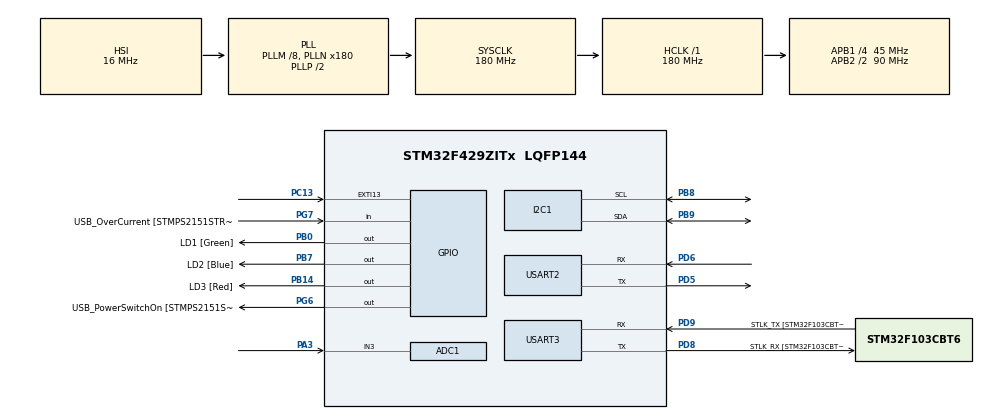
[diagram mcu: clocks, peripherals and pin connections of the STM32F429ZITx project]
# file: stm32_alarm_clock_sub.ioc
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ADC1.Channel-1\#ChannelRegularConversion=ADC_CHANNEL_3
ADC1.ExternalTrigConv=ADC_SOFTWARE_START
ADC1.NbrOfConversion=1
ADC1.NbrOfConversionFlag=1
ADC1.Rank-1\#ChannelRegularConversion=1
ADC1.SamplingTime-1\#ChannelRegularConversion=ADC_SAMPLETIME_3CYCLES
ADC1.master=1
Mcu.Family=STM32F4
Mcu.Name=STM32F429ZITx
Mcu.Package=LQFP144
NVIC.ADC_IRQn=true\:0\:0\:false\:false\:true\:true\:true
NVIC.EXTI15_10_IRQn=true\:0\:0\:false\:false\:true\:true\:true
NVIC.PriorityGroup=NVIC_PRIORITYGROUP_4
NVIC.USART2_IRQn=true\:0\:0\:false\:false\:true\:true\:true
NVIC.USART3_IRQn=true\:0\:0\:false\:false\:true\:true\:true
PA1.GPIO_Label=RMII_REF_CLK [LAN8742A-CZ-TR_REFCLK0]
PA1.Signal=ETH_REF_CLK
PA10.GPIO_Label=USB_ID
PA10.Signal=USB_OTG_FS_ID
PA11.GPIO_Label=USB_DM
PA11.Signal=USB_OTG_FS_DM
PA12.GPIO_Label=USB_DP
PA12.Signal=USB_OTG_FS_DP
PA13.GPIO_Label=TMS
PA13.Mode=Serial_Wire
PA13.Signal=SYS_JTMS-SWDIO
PA14.GPIO_Label=TCK
PA14.Mode=Serial_Wire
PA14.Signal=SYS_JTCK-SWCLK
PA2.GPIO_Label=RMII_MDIO [LAN8742A-CZ-TR_MDIO]
PA2.Signal=ETH_MDIO
PA3.Signal=ADCx_IN3
PA7.GPIO_Label=RMII_CRS_DV [LAN8742A-CZ-TR_CRS_DV]
PA7.Signal=ETH_CRS_DV
PA8.GPIO_Label=USB_SOF [TP1]
PA8.Signal=USB_OTG_FS_SOF
PA9.GPIO_Label=USB_VBUS
PA9.Signal=USB_OTG_FS_VBUS
PB0.GPIO_Label=LD1 [Green]
PB0.Signal=GPIO_Output
PB13.GPIO_Label=RMII_TXD1 [LAN8742A-CZ-TR_TXD1]
PB13.Signal=ETH_TXD1
PB14.GPIO_Label=LD3 [Red]
PB14.Signal=GPIO_Output
PB7.GPIO_Label=LD2 [Blue]
PB7.Signal=GPIO_Output
PB8.Mode=I2C
PB8.Signal=I2C1_SCL
PB9.Mode=I2C
PB9.Signal=I2C1_SDA
PC1.GPIO_Label=RMII_MDC [LAN8742A-CZ-TR_MDC]
PC1.Signal=ETH_MDC
PC13.Signal=GPXTI13
PC14/OSC32_IN.Mode=LSE-External-Oscillator
PC14/OSC32_IN.Signal=RCC_OSC32_IN
PC15/OSC32_OUT.Mode=LSE-External-Oscillator
PC15/OSC32_OUT.Signal=RCC_OSC32_OUT
PC4.GPIO_Label=RMII_RXD0 [LAN8742A-CZ-TR_RXD0]
PC4.Signal=ETH_RXD0
PC5.GPIO_Label=RMII_RXD1 [LAN8742A-CZ-TR_RXD1]
PC5.Signal=ETH_RXD1
PD5.Mode=Asynchronous
PD5.Signal=USART2_TX
PD6.Mode=Asynchronous
PD6.Signal=USART2_RX
PD8.GPIO_Label=STLK_RX [STM32F103CBT6_PA3]
PD8.Mode=Asynchronous
PD8.Signal=USART3_TX
PD9.GPIO_Label=STLK_TX [STM32F103CBT6_PA2]
PD9.Mode=Asynchronous
PD9.Signal=USART3_RX
PG11.GPIO_Label=RMII_TX_EN [LAN8742A-CZ-TR_TXEN]
PG11.Signal=ETH_TX_EN
PG13.GPIO_Label=RMII_TXD0 [LAN8742A-CZ-TR_TXD0]
PG13.Signal=ETH_TXD0
PG6.GPIO_Label=USB_PowerSwitchOn [STMPS2151STR_EN]
PG6.Signal=GPIO_Output
PG7.GPIO_Label=USB_OverCurrent [STMPS2151STR_FAULT]
PG7.Signal=GPIO_Input
PH0/OSC_IN.GPIO_Label=MCO [STM32F103CBT6_PA8]
PH0/OSC_IN.Signal=RCC_OSC_IN
ProjectManager.HeapSize=0x200
ProjectManager.StackSize=0x400
ProjectManager.TargetToolchain=STM32CubeIDE
RCC.48MHZClocksFreq_Value=51428571.428571425
RCC.AHBFreq_Value=180000000
RCC.APB1CLKDivider=RCC_HCLK_DIV4
RCC.APB1Freq_Value=45000000
RCC.APB1TimFreq_Value=90000000
RCC.APB2CLKDivider=RCC_HCLK_DIV2
RCC.APB2Freq_Value=90000000
RCC.APB2TimCLKDivider=2
RCC.APB2TimFreq_Value=180000000
RCC.CortexFreq_Value=180000000
RCC.HCLKFreq_Value=180000000
RCC.HSE_VALUE=8000000
RCC.HSI_VALUE=16000000
RCC.PLLM=8
RCC.PLLMUL=RCC_PLL_MUL9
RCC.PLLN=180
RCC.PLLQ=7
RCC.PRESCALERUSB=RCC_USBCLKSOURCE_PLL_DIV1_5
RCC.RCC_RTC_Clock_Source=RCC_RTCCLKSOURCE_LSE
RCC.RCC_RTC_Clock_SourceVirtual=RCC_RTCCLKSOURCE_LSE
RCC.SYSCLKFreq_VALUE=180000000
RCC.SYSCLKSource=RCC_SYSCLKSOURCE_PLLCLK
RCC.SYSCLKSourceVirtual=RCC_SYSCLKSOURCE_PLLCLK
RCC.USBFreq_Value=48000000
RCC.VCOOutputFreq_Value=360000000
SH.ADCx_IN3.0=ADC1_IN3,IN3
USART2.VirtualMode=VM_ASYNC
USART3.VirtualMode=VM_ASYNC
VP_RTC_VS_RTC_Activate.Mode=RTC_Enabled
board=NUCLEO-F429ZI

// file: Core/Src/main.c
/* USER CODE BEGIN Header */
/**
 ******************************************************************************
 * @file           : main.c
 * @brief          : Main program body
 ******************************************************************************
 * @attention
 *
 * <h2><center>&copy; Copyright (c) 2020 STMicroelectronics.
 * All rights reserved.</center></h2>
 *
 * This software component is licensed by ST under BSD 3-Clause license,
 * the "License"; You may not use this file except in compliance with the
 * License. You may obtain a copy of the License at:
 *                        opensource.org/licenses/BSD-3-Clause
 *
 ******************************************************************************
 */
/* USER CODE END Header */

#include "main.h"

ADC_HandleTypeDef hadc1;

I2C_HandleTypeDef hi2c1;

RTC_HandleTypeDef hrtc;

UART_HandleTypeDef huart2;
UART_HandleTypeDef huart3;

void SystemClock_Config(void);
static void MX_GPIO_Init(void);
static void MX_USART3_UART_Init(void);
static void MX_ADC1_Init(void);
static void MX_I2C1_Init(void);
static void MX_RTC_Init(void);
static void MX_USART2_UART_Init(void);

/* USER CODE BEGIN 0 */

#define ADDR_FLASH_SECTOR_0     ((uint32_t)0x08000000) /* Base @ of Sector 0, 16 Kbytes */
#define ADDR_FLASH_SECTOR_1     ((uint32_t)0x08004000) /* Base @ of Sector 1, 16 Kbytes */
#define ADDR_FLASH_SECTOR_2     ((uint32_t)0x08008000) /* Base @ of Sector 2, 16 Kbytes */
#define ADDR_FLASH_SECTOR_3     ((uint32_t)0x0800C000) /* Base @ of Sector 3, 16 Kbytes */
#define ADDR_FLASH_SECTOR_4     ((uint32_t)0x08010000) /* Base @ of Sector 4, 64 Kbytes */
#define ADDR_FLASH_SECTOR_5     ((uint32_t)0x08020000) /* Base @ of Sector 5, 128 Kbytes */
#define ADDR_FLASH_SECTOR_6     ((uint32_t)0x08040000) /* Base @ of Sector 6, 128 Kbytes */
#define ADDR_FLASH_SECTOR_7     ((uint32_t)0x08060000) /* Base @ of Sector 7, 128 Kbytes */
#define ADDR_FLASH_SECTOR_8     ((uint32_t)0x08080000) /* Base @ of Sector 8, 128 Kbytes */
#define ADDR_FLASH_SECTOR_9     ((uint32_t)0x080A0000) /* Base @ of Sector 9, 128 Kbytes */
#define ADDR_FLASH_SECTOR_10    ((uint32_t)0x080C0000) /* Base @ of Sector 10, 128 Kbytes */
#define ADDR_FLASH_SECTOR_11    ((uint32_t)0x080E0000) /* Base @ of Sector 11, 128 Kbytes */

/* Base address of the Flash sectors Bank 2 */
#define ADDR_FLASH_SECTOR_12     ((uint32_t)0x08100000) /* Base @ of Sector 0, 16 Kbytes */
#define ADDR_FLASH_SECTOR_13     ((uint32_t)0x08104000) /* Base @ of Sector 1, 16 Kbytes */
#define ADDR_FLASH_SECTOR_14     ((uint32_t)0x08108000) /* Base @ of Sector 2, 16 Kbytes */
#define ADDR_FLASH_SECTOR_15     ((uint32_t)0x0810C000) /* Base @ of Sector 3, 16 Kbytes */
#define ADDR_FLASH_SECTOR_16     ((uint32_t)0x08110000) /* Base @ of Sector 4, 64 Kbytes */
#define ADDR_FLASH_SECTOR_17     ((uint32_t)0x08120000) /* Base @ of Sector 5, 128 Kbytes */
#define ADDR_FLASH_SECTOR_18     ((uint32_t)0x08140000) /* Base @ of Sector 6, 128 Kbytes */
#define ADDR_FLASH_SECTOR_19     ((uint32_t)0x08160000) /* Base @ of Sector 7, 128 Kbytes */
#define ADDR_FLASH_SECTOR_20     ((uint32_t)0x08180000) /* Base @ of Sector 8, 128 Kbytes  */
#define ADDR_FLASH_SECTOR_21     ((uint32_t)0x081A0000) /* Base @ of Sector 9, 128 Kbytes  */
#define ADDR_FLASH_SECTOR_22     ((uint32_t)0x081C0000) /* Base @ of Sector 10, 128 Kbytes */
#define ADDR_FLASH_SECTOR_23     ((uint32_t)0x081E0000) /* Base @ of Sector 11, 128 Kbytes */

uint32_t FirstSector = 0, NbOfSectors = 0;
uint32_t Address = 0, SECTORError = 0,Data=0, error=0;
uint32_t i;
__IO uint32_t data32 = 0 , MemoryProgramStatus = 0;

static FLASH_EraseInitTypeDef EraseInitStruct;

static uint32_t GetSector(uint32_t Address);
static uint32_t GetSectorSize(uint32_t Sector);

char uart_buf[30];
char uart_buf2[30];
char receive;
char ampm[3] = { "AM\0" };
char alarm_ampm[3] = { "AM\0" };
short int state = 0;
short int move = 0;
int music;

//static unsigned int music_number;
#define LCD_ADDR (0x27 << 1)

enum CLOCK_MODE {
	NORMAL_STATE, TIME_SETTING, ALARM_TIME_SETTING, MUSIC_SELECT
};

enum MUSIC_MODE {
	Rock, HIP_HOP, R_B, K_POP
};
uint32_t adc_value;
uint32_t last_time,current_time,time_interval;
uint8_t txBuffer[11];
uint8_t mode_state;
enum CLOCK_MODE volatile static clock_mode;
enum MUSIC_MODE volatile static music_mode;

typedef struct{
	int8_t hour;
	int8_t minute;
	int8_t second;
}TimeTypeDef;

TimeTypeDef ctime;
TimeTypeDef stime;
TimeTypeDef atime;

typedef struct {
  uint32_t magic_num;
  TimeTypeDef setting_time;
  TimeTypeDef alarm_time;
  int8_t alarm_music_num;
}NVitemTypeDef;

#define MAGIC_NUM 0xdeadbeef
#define nv_items  ((NVitemTypeDef *) ADDR_FLASH_SECTOR_23)

NVitemTypeDef default_nvitem =
{
  MAGIC_NUM,
  {0,0,0},
  {0,0,0},
  0
};

volatile static unsigned int timer_count = 0, second_count = 0;

HAL_SYSTICK_Callback() {
	if ((timer_count % 1000) == 0) {
		second_count++;
	}
	timer_count++;

}

void normal_display() {

	ctime.second = (second_count) % 60;
	ctime.minute = (second_count / 60) % 60;
	ctime.hour = (second_count / 3600) % 13;

	memset(uart_buf, 0, sizeof(uart_buf));
	sprintf(uart_buf, "%s %02d:%02d:%02d", ampm, ctime.hour, ctime.minute, ctime.second);
	LCD_SendCommand(LCD_ADDR, 0b10000000);
	LCD_SendString(LCD_ADDR, "Normal_Mode    ");

	LCD_SendCommand(LCD_ADDR, 0b11000000);
	LCD_SendString(LCD_ADDR, uart_buf);

	if ((state == 0) && (ctime.hour == 12) && (ctime.minute == 59)
			&& (ctime.second == 59))

			{
		state = 1;
		second_count = 0;
		ampm[0] = 'P';
		ampm[1] = 'M';
		ampm[2] = '\0';
	}

	else if ((state == 0) && (ctime.hour == 12) && (ctime.minute == 59)
			&& (ctime.second == 59)) {
		state = 0;
		second_count = 0;
		ampm[0] = 'A';
		ampm[1] = 'M';
		ampm[2] = '\0';
	}

	else if ((ctime.hour == atime.hour) && (ctime.minute == atime.minute)
			&& (ctime.second == atime.second)) {
		sprintf(uart_buf, "Wake UP!");
		LCD_Init(LCD_ADDR);
		LCD_SendCommand(LCD_ADDR, 0b11000000);
		LCD_SendString(LCD_ADDR, uart_buf);
		HAL_Delay(5000);
		LCD_Init(LCD_ADDR);
	}

}

void time_setting() {

	if (adc_value > 1900 && adc_value < 2000) {
		move++;
		if (move == 4) {
			move = 0;
		}
	}

	else if (adc_value > 2900 && adc_value < 3005) {
		move--;
		if (move == -1) {
			move = 3;
		}
	}

	else if (adc_value==4095)
	{
		default_nvitem.setting_time.hour = stime.hour;
		default_nvitem.setting_time.minute = stime.minute;
		default_nvitem.setting_time.second = stime.second;
		update_nvitems();
		second_count = (stime.second) + (stime.minute*60) + (stime.hour * 60 * 60);
		clock_mode=0;
	}

	else if ((adc_value >= 0 && adc_value <= 100)||receive=='u') {
		if (move == 0) {
			stime.second++;
			if (stime.second == 60) {
				stime.second = 0;
			}
		}

		else if (move == 1) {
			stime.minute++;
			if (stime.minute == 60) {
				stime.minute = 0;
			}
		}

		else if (move == 2) {
			stime.hour++;
			if (stime.hour == 13) {
				stime.hour = 0;
			}
		}

		else {
			state++;
			if (state == 1) {
				ampm[0] = 'P';
				ampm[1] = 'M';
				ampm[2] = '\0';
			}

			else {
				ampm[0] = 'A';
				ampm[1] = 'M';
				ampm[2] = '\0';
				state = 0;
			}
		}

	}

	else if (adc_value >= 850 && adc_value <= 870) {
		if (move == 0) {
			stime.second--;
			if (stime.second == -1) {
				stime.second = 59;
			}
		}

		else if (move == 1) {
			stime.minute--;
			if (stime.minute == -1) {
				stime.minute = 59;
			}
		}

		else if (move == 2) {
			stime.hour--;
			if (stime.hour == -1) {
				stime.hour = 12;
			}
		}

		else {
			state++;
			if (state == 1) {
				ampm[0] = 'P';
				ampm[1] = 'M';
				ampm[2] = '\0';
			}

			else {
				ampm[0] = 'A';
				ampm[1] = 'M';
				ampm[2] = '\0';
				state = 0;
			}
		}

	}
	sprintf(uart_buf, "%s %02d:%02d:%02d", ampm, stime.hour, stime.minute, stime.second);

	LCD_SendCommand(LCD_ADDR, 0b10000000);
	LCD_SendString(LCD_ADDR, "Time_Setting    ");

	LCD_SendCommand(LCD_ADDR, 0b11000000);
	LCD_SendString(LCD_ADDR, uart_buf);
}

void alarm_setting()

{

	if (adc_value > 1900 && adc_value < 2000) {
			move++;
			if (move == 4) {
				move = 0;
			}
		}

		else if (adc_value > 2900 && adc_value < 3005) {
			move--;
			if (move == -1) {
				move = 3;
			}
		}

		else if (adc_value==4095)
		{
			default_nvitem.alarm_time.hour = atime.hour;
			default_nvitem.alarm_time.minute = atime.minute;
			default_nvitem.alarm_time.second = atime.second;
			update_nvitems();
			clock_mode=0;
		}

		else if (adc_value >= 0 && adc_value <= 100) {
			if (move == 0) {
				atime.second++;
				if (atime.second == 60) {
					atime.second = 0;
				}
			}

			else if (move == 1) {
				atime.minute++;
				if (atime.minute == 60) {
					atime.minute = 0;
				}
			}

			else if (move == 2) {
				atime.hour++;
				if (atime.hour == 13) {
					atime.hour = 0;
				}
			}

			else {
				state++;
				if (state == 1) {
					ampm[0] = 'P';
					ampm[1] = 'M';
					ampm[2] = '\0';
				}

				else {
					ampm[0] = 'A';
					ampm[1] = 'M';
					ampm[2] = '\0';
					state = 0;
				}
			}

		}

		else if (adc_value >= 850 && adc_value <= 870) {
			if (move == 0) {
				atime.second--;
				if (atime.second == -1) {
					atime.second = 59;
				}
			}

			else if (move == 1) {
				atime.minute--;
				if (atime.minute == -1) {
					atime.minute = 59;
				}
			}

			else if (move == 2) {
				atime.hour--;
				if (atime.hour == -1) {
					atime.hour = 12;
				}
			}

			else {
				state++;
				if (state == 1) {
					ampm[0] = 'P';
					ampm[1] = 'M';
					ampm[2] = '\0';
				}

				else {
					ampm[0] = 'A';
					ampm[1] = 'M';
					ampm[2] = '\0';
					state = 0;
				}
			}

		}

	sprintf(uart_buf, "%s %02d:%02d:%02d", ampm, atime.hour, atime.minute, atime.second);
	LCD_SendCommand(LCD_ADDR, 0b10000000);
	LCD_SendString(LCD_ADDR, "Alarm_Setting     ");

	LCD_SendCommand(LCD_ADDR, 0b11000000);
	LCD_SendString(LCD_ADDR, uart_buf);

}

void music_select() {
	LCD_SendCommand(LCD_ADDR, 0b10000000);
	LCD_SendString(LCD_ADDR, "Music_Select    ");

	switch (music_mode) {
	case 0:
		LCD_SendCommand(LCD_ADDR, 0b11000000);
		LCD_SendString(LCD_ADDR, "Rock           ");
		break;

	case 1:
		LCD_SendCommand(LCD_ADDR, 0b11000000);
		LCD_SendString(LCD_ADDR, "HIP-HOP        ");
		break;

	case 2:
		LCD_SendCommand(LCD_ADDR, 0b11000000);
		LCD_SendString(LCD_ADDR, "K-POP          ");
		break;

	default:
		LCD_SendCommand(LCD_ADDR, 0b11000000);
		LCD_SendString(LCD_ADDR, "Classic        ");
		break;
	}
	if (adc_value > 1900 && adc_value < 2000) {
		music_mode = 0;
	}

	else if (adc_value > 2900 && adc_value < 3005) {
		music_mode = 1;
	}

	else if (adc_value >= 0 && adc_value <= 100) {
		music_mode = 2;
	}

	else if (adc_value >= 850 && adc_value <= 870) {
		music_mode = 3;
	}
	else if (adc_value==4095)
	{
		default_nvitem.alarm_music_num = music_mode;
		update_nvitems();
		clock_mode = 0;
	}

}

void HAL_GPIO_EXTI_Callback(uint16_t GPIO_Pin) {		//?��??버튼 ?��?��?��?��코드

	if (GPIO_Pin == GPIO_PIN_13) {
		current_time = HAL_GetTick();
		time_interval = current_time - last_time;
		last_time =current_time;

	}
}

void update_nvitems(void)		//메모리�??��?��?��
{
  uint8_t *ptr;
  HAL_FLASH_Unlock();
  FirstSector = FLASH_SECTOR_23;
  NbOfSectors = 1;

  EraseInitStruct.TypeErase     = FLASH_TYPEERASE_SECTORS;
  EraseInitStruct.Sector        = FirstSector;
  EraseInitStruct.NbSectors     = NbOfSectors;
  error = HAL_FLASHEx_Erase(&EraseInitStruct, &SECTORError);

  ptr = (uint8_t*)&default_nvitem;
  for(int i=0;i<sizeof(NVitemTypeDef);i++)
  {
    Address = (uint8_t*)nv_items+i;
    Data = *((uint8_t*)ptr+ i);
    HAL_FLASH_Program(FLASH_TYPEPROGRAM_BYTE,Address,Data);
  }
   HAL_FLASH_Lock();
}

/* USER CODE END 0 */

int main(void)
{

  /* MCU Configuration--------------------------------------------------------*/

  /* Reset of all peripherals, Initializes the Flash interface and the Systick. */
  HAL_Init();

  /* Configure the system clock */
  SystemClock_Config();

  /* Initialize all configured peripherals */
  MX_GPIO_Init();
  MX_USART3_UART_Init();
  MX_ADC1_Init();
  MX_I2C1_Init();
  MX_RTC_Init();
  MX_USART2_UART_Init();
  /* USER CODE BEGIN 2 */

  HAL_UART_Receive_IT(&huart2, (uint8_t*)&receive, 1);

  init();
	 if(nv_items->magic_num == MAGIC_NUM)
	  {
	   memcpy(&default_nvitem,nv_items,sizeof(NVitemTypeDef));
	   stime.hour = default_nvitem.setting_time.hour;
	   stime.minute = default_nvitem.setting_time.minute;
	   stime.second = default_nvitem.setting_time.second;
	   second_count = (stime.second) + (stime.minute*60) + (stime.hour * 60 * 60);
	   atime.hour = default_nvitem.alarm_time.hour;
	   atime.minute = default_nvitem.alarm_time.minute;
	   atime.second = default_nvitem.alarm_time.second;
	   music_mode=default_nvitem.alarm_music_num;
	  }
	  else
	  {
	    update_nvitems();
	  }
  /* USER CODE END 2 */

  /* Infinite loop */
  /* USER CODE BEGIN WHILE */
	while (1) {

		switch (clock_mode) {
		case 0:
			normal_display();
			break;

		case 1:
			time_setting();
			break;

		case 2:
			alarm_setting();
			break;

		default:
			music_select();
			break;
		}

		HAL_ADC_Start(&hadc1);
		HAL_ADC_PollForConversion(&hadc1, 10);
		adc_value = HAL_ADC_GetValue(&hadc1);
		HAL_ADC_Stop(&hadc1);

		if (time_interval) {

			if (time_interval <= 26000 && time_interval >= 2000) {
				clock_mode = 1;
			} else if (time_interval <= 1900 && time_interval >= 200) {
				clock_mode = 2;
			} else if (time_interval <= 190 && time_interval >= 1) {
				clock_mode = 3;
			}
			time_interval = 0;
		}

    /* USER CODE END WHILE */

	}
}

void SystemClock_Config(void)
{
  RCC_OscInitTypeDef RCC_OscInitStruct = {0};
  RCC_ClkInitTypeDef RCC_ClkInitStruct = {0};
  RCC_PeriphCLKInitTypeDef PeriphClkInitStruct = {0};

  /** Configure the main internal regulator output voltage
  */
  __HAL_RCC_PWR_CLK_ENABLE();
  __HAL_PWR_VOLTAGESCALING_CONFIG(PWR_REGULATOR_VOLTAGE_SCALE1);
  /** Initializes the CPU, AHB and APB busses clocks
  */
  RCC_OscInitStruct.OscillatorType = RCC_OSCILLATORTYPE_HSI|RCC_OSCILLATORTYPE_LSE;
  RCC_OscInitStruct.LSEState = RCC_LSE_ON;
  RCC_OscInitStruct.HSIState = RCC_HSI_ON;
  RCC_OscInitStruct.HSICalibrationValue = RCC_HSICALIBRATION_DEFAULT;
  RCC_OscInitStruct.PLL.PLLState = RCC_PLL_ON;
  RCC_OscInitStruct.PLL.PLLSource = RCC_PLLSOURCE_HSI;
  RCC_OscInitStruct.PLL.PLLM = 8;
  RCC_OscInitStruct.PLL.PLLN = 180;
  RCC_OscInitStruct.PLL.PLLP = RCC_PLLP_DIV2;
  RCC_OscInitStruct.PLL.PLLQ = 7;
  if (HAL_RCC_OscConfig(&RCC_OscInitStruct) != HAL_OK)
  {
    Error_Handler();
  }
  /** Activate the Over-Drive mode
  */
  if (HAL_PWREx_EnableOverDrive() != HAL_OK)
  {
    Error_Handler();
  }
  /** Initializes the CPU, AHB and APB busses clocks
  */
  RCC_ClkInitStruct.ClockType = RCC_CLOCKTYPE_HCLK|RCC_CLOCKTYPE_SYSCLK
                              |RCC_CLOCKTYPE_PCLK1|RCC_CLOCKTYPE_PCLK2;
  RCC_ClkInitStruct.SYSCLKSource = RCC_SYSCLKSOURCE_PLLCLK;
  RCC_ClkInitStruct.AHBCLKDivider = RCC_SYSCLK_DIV1;
  RCC_ClkInitStruct.APB1CLKDivider = RCC_HCLK_DIV4;
  RCC_ClkInitStruct.APB2CLKDivider = RCC_HCLK_DIV2;

  if (HAL_RCC_ClockConfig(&RCC_ClkInitStruct, FLASH_LATENCY_5) != HAL_OK)
  {
    Error_Handler();
  }
  PeriphClkInitStruct.PeriphClockSelection = RCC_PERIPHCLK_RTC;
  PeriphClkInitStruct.RTCClockSelection = RCC_RTCCLKSOURCE_LSE;
  if (HAL_RCCEx_PeriphCLKConfig(&PeriphClkInitStruct) != HAL_OK)
  {
    Error_Handler();
  }
}

static void MX_ADC1_Init(void)
{

  ADC_ChannelConfTypeDef sConfig = {0};

  /** Configure the global features of the ADC (Clock, Resolution, Data Alignment and number of conversion)
  */
  hadc1.Instance = ADC1;
  hadc1.Init.ClockPrescaler = ADC_CLOCK_SYNC_PCLK_DIV4;
  hadc1.Init.Resolution = ADC_RESOLUTION_12B;
  hadc1.Init.ScanConvMode = DISABLE;
  hadc1.Init.ContinuousConvMode = DISABLE;
  hadc1.Init.DiscontinuousConvMode = DISABLE;
  hadc1.Init.ExternalTrigConvEdge = ADC_EXTERNALTRIGCONVEDGE_NONE;
  hadc1.Init.ExternalTrigConv = ADC_SOFTWARE_START;
  hadc1.Init.DataAlign = ADC_DATAALIGN_RIGHT;
  hadc1.Init.NbrOfConversion = 1;
  hadc1.Init.DMAContinuousRequests = DISABLE;
  hadc1.Init.EOCSelection = ADC_EOC_SINGLE_CONV;
  if (HAL_ADC_Init(&hadc1) != HAL_OK)
  {
    Error_Handler();
  }
  /** Configure for the selected ADC regular channel its corresponding rank in the sequencer and its sample time.
  */
  sConfig.Channel = ADC_CHANNEL_3;
  sConfig.Rank = 1;
  sConfig.SamplingTime = ADC_SAMPLETIME_3CYCLES;
  if (HAL_ADC_ConfigChannel(&hadc1, &sConfig) != HAL_OK)
  {
    Error_Handler();
  }

}

static void MX_I2C1_Init(void)
{

  hi2c1.Instance = I2C1;
  hi2c1.Init.ClockSpeed = 100000;
  hi2c1.Init.DutyCycle = I2C_DUTYCYCLE_2;
  hi2c1.Init.OwnAddress1 = 0;
  hi2c1.Init.AddressingMode = I2C_ADDRESSINGMODE_7BIT;
  hi2c1.Init.DualAddressMode = I2C_DUALADDRESS_DISABLE;
  hi2c1.Init.OwnAddress2 = 0;
  hi2c1.Init.GeneralCallMode = I2C_GENERALCALL_DISABLE;
  hi2c1.Init.NoStretchMode = I2C_NOSTRETCH_DISABLE;
  if (HAL_I2C_Init(&hi2c1) != HAL_OK)
  {
    Error_Handler();
  }
  /** Configure Analogue filter
  */
  if (HAL_I2CEx_ConfigAnalogFilter(&hi2c1, I2C_ANALOGFILTER_ENABLE) != HAL_OK)
  {
    Error_Handler();
  }
  /** Configure Digital filter
  */
  if (HAL_I2CEx_ConfigDigitalFilter(&hi2c1, 0) != HAL_OK)
  {
    Error_Handler();
  }

}

static void MX_RTC_Init(void)
{

  /** Initialize RTC Only
  */
  hrtc.Instance = RTC;
  hrtc.Init.HourFormat = RTC_HOURFORMAT_24;
  hrtc.Init.AsynchPrediv = 127;
  hrtc.Init.SynchPrediv = 255;
  hrtc.Init.OutPut = RTC_OUTPUT_DISABLE;
  hrtc.Init.OutPutPolarity = RTC_OUTPUT_POLARITY_HIGH;
  hrtc.Init.OutPutType = RTC_OUTPUT_TYPE_OPENDRAIN;
  if (HAL_RTC_Init(&hrtc) != HAL_OK)
  {
    Error_Handler();
  }

}

static void MX_USART2_UART_Init(void)
{

  huart2.Instance = USART2;
  huart2.Init.BaudRate = 115200;
  huart2.Init.WordLength = UART_WORDLENGTH_8B;
  huart2.Init.StopBits = UART_STOPBITS_1;
  huart2.Init.Parity = UART_PARITY_NONE;
  huart2.Init.Mode = UART_MODE_TX_RX;
  huart2.Init.HwFlowCtl = UART_HWCONTROL_NONE;
  huart2.Init.OverSampling = UART_OVERSAMPLING_16;
  if (HAL_UART_Init(&huart2) != HAL_OK)
  {
    Error_Handler();
  }

}

static void MX_USART3_UART_Init(void)
{

  huart3.Instance = USART3;
  huart3.Init.BaudRate = 115200;
  huart3.Init.WordLength = UART_WORDLENGTH_8B;
  huart3.Init.StopBits = UART_STOPBITS_1;
  huart3.Init.Parity = UART_PARITY_NONE;
  huart3.Init.Mode = UART_MODE_TX_RX;
  huart3.Init.HwFlowCtl = UART_HWCONTROL_NONE;
  huart3.Init.OverSampling = UART_OVERSAMPLING_16;
  if (HAL_UART_Init(&huart3) != HAL_OK)
  {
    Error_Handler();
  }

}

static void MX_GPIO_Init(void)
{
  GPIO_InitTypeDef GPIO_InitStruct = {0};

  /* GPIO Ports Clock Enable */
  __HAL_RCC_GPIOC_CLK_ENABLE();
  __HAL_RCC_GPIOH_CLK_ENABLE();
  __HAL_RCC_GPIOA_CLK_ENABLE();
  __HAL_RCC_GPIOB_CLK_ENABLE();
  __HAL_RCC_GPIOD_CLK_ENABLE();
  __HAL_RCC_GPIOG_CLK_ENABLE();

  /*Configure GPIO pin Output Level */
  HAL_GPIO_WritePin(GPIOB, LD1_Pin|LD3_Pin|LD2_Pin, GPIO_PIN_RESET);

  /*Configure GPIO pin Output Level */
  HAL_GPIO_WritePin(USB_PowerSwitchOn_GPIO_Port, USB_PowerSwitchOn_Pin, GPIO_PIN_RESET);

  /*Configure GPIO pin : PC13 */
  GPIO_InitStruct.Pin = GPIO_PIN_13;
  GPIO_InitStruct.Mode = GPIO_MODE_IT_RISING;
  GPIO_InitStruct.Pull = GPIO_NOPULL;
  HAL_GPIO_Init(GPIOC, &GPIO_InitStruct);

  /*Configure GPIO pins : RMII_MDC_Pin RMII_RXD0_Pin RMII_RXD1_Pin */
  GPIO_InitStruct.Pin = RMII_MDC_Pin|RMII_RXD0_Pin|RMII_RXD1_Pin;
  GPIO_InitStruct.Mode = GPIO_MODE_AF_PP;
  GPIO_InitStruct.Pull = GPIO_NOPULL;
  GPIO_InitStruct.Speed = GPIO_SPEED_FREQ_VERY_HIGH;
  GPIO_InitStruct.Alternate = GPIO_AF11_ETH;
  HAL_GPIO_Init(GPIOC, &GPIO_InitStruct);

  /*Configure GPIO pins : RMII_REF_CLK_Pin RMII_MDIO_Pin RMII_CRS_DV_Pin */
  GPIO_InitStruct.Pin = RMII_REF_CLK_Pin|RMII_MDIO_Pin|RMII_CRS_DV_Pin;
  GPIO_InitStruct.Mode = GPIO_MODE_AF_PP;
  GPIO_InitStruct.Pull = GPIO_NOPULL;
  GPIO_InitStruct.Speed = GPIO_SPEED_FREQ_VERY_HIGH;
  GPIO_InitStruct.Alternate = GPIO_AF11_ETH;
  HAL_GPIO_Init(GPIOA, &GPIO_InitStruct);

  /*Configure GPIO pins : LD1_Pin LD3_Pin LD2_Pin */
  GPIO_InitStruct.Pin = LD1_Pin|LD3_Pin|LD2_Pin;
  GPIO_InitStruct.Mode = GPIO_MODE_OUTPUT_PP;
  GPIO_InitStruct.Pull = GPIO_NOPULL;
  GPIO_InitStruct.Speed = GPIO_SPEED_FREQ_LOW;
  HAL_GPIO_Init(GPIOB, &GPIO_InitStruct);

  /*Configure GPIO pin : RMII_TXD1_Pin */
  GPIO_InitStruct.Pin = RMII_TXD1_Pin;
  GPIO_InitStruct.Mode = GPIO_MODE_AF_PP;
  GPIO_InitStruct.Pull = GPIO_NOPULL;
  GPIO_InitStruct.Speed = GPIO_SPEED_FREQ_VERY_HIGH;
  GPIO_InitStruct.Alternate = GPIO_AF11_ETH;
  HAL_GPIO_Init(RMII_TXD1_GPIO_Port, &GPIO_InitStruct);

  /*Configure GPIO pin : USB_PowerSwitchOn_Pin */
  GPIO_InitStruct.Pin = USB_PowerSwitchOn_Pin;
  GPIO_InitStruct.Mode = GPIO_MODE_OUTPUT_PP;
  GPIO_InitStruct.Pull = GPIO_NOPULL;
  GPIO_InitStruct.Speed = GPIO_SPEED_FREQ_LOW;
  HAL_GPIO_Init(USB_PowerSwitchOn_GPIO_Port, &GPIO_InitStruct);

  /*Configure GPIO pin : USB_OverCurrent_Pin */
  GPIO_InitStruct.Pin = USB_OverCurrent_Pin;
  GPIO_InitStruct.Mode = GPIO_MODE_INPUT;
  GPIO_InitStruct.Pull = GPIO_NOPULL;
  HAL_GPIO_Init(USB_OverCurrent_GPIO_Port, &GPIO_InitStruct);

  /*Configure GPIO pins : USB_SOF_Pin USB_ID_Pin USB_DM_Pin USB_DP_Pin */
  GPIO_InitStruct.Pin = USB_SOF_Pin|USB_ID_Pin|USB_DM_Pin|USB_DP_Pin;
  GPIO_InitStruct.Mode = GPIO_MODE_AF_PP;
  GPIO_InitStruct.Pull = GPIO_NOPULL;
  GPIO_InitStruct.Speed = GPIO_SPEED_FREQ_VERY_HIGH;
  GPIO_InitStruct.Alternate = GPIO_AF10_OTG_FS;
  HAL_GPIO_Init(GPIOA, &GPIO_InitStruct);

  /*Configure GPIO pin : USB_VBUS_Pin */
  GPIO_InitStruct.Pin = USB_VBUS_Pin;
  GPIO_InitStruct.Mode = GPIO_MODE_INPUT;
  GPIO_InitStruct.Pull = GPIO_NOPULL;
  HAL_GPIO_Init(USB_VBUS_GPIO_Port, &GPIO_InitStruct);

  /*Configure GPIO pins : RMII_TX_EN_Pin RMII_TXD0_Pin */
  GPIO_InitStruct.Pin = RMII_TX_EN_Pin|RMII_TXD0_Pin;
  GPIO_InitStruct.Mode = GPIO_MODE_AF_PP;
  GPIO_InitStruct.Pull = GPIO_NOPULL;
  GPIO_InitStruct.Speed = GPIO_SPEED_FREQ_VERY_HIGH;
  GPIO_InitStruct.Alternate = GPIO_AF11_ETH;
  HAL_GPIO_Init(GPIOG, &GPIO_InitStruct);

  /* EXTI interrupt init*/
  HAL_NVIC_SetPriority(EXTI15_10_IRQn, 0, 0);
  HAL_NVIC_EnableIRQ(EXTI15_10_IRQn);

}

void Error_Handler(void)
{
}

/************************ (C) COPYRIGHT STMicroelectronics *****END OF FILE****/
